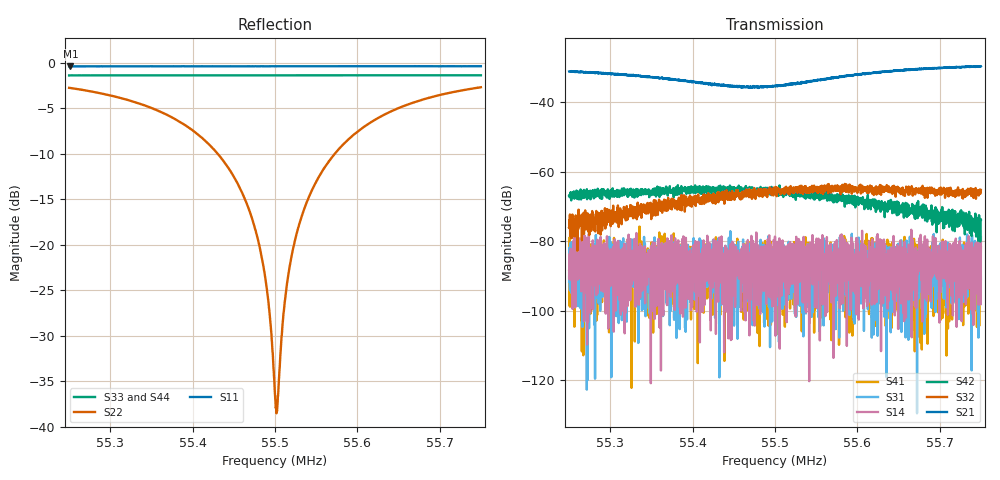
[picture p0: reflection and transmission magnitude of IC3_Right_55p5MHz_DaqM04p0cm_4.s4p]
#  HZ  S  DB  R  50.00
! Rohde & Schwarz Vector Network Analyzer
! Rohde-Schwarz,ZNB8-4Port,1311601044102961,2.82
! Created: UTC 2/13/2019, 1:39:26 PM
! freq[Hz]  db:S11  ang:S11  db:S12  ang:S12  db:S13  ang:S13  db:S14  ang:S14
!  db:S21  ang:S21  db:S22  ang:S22  db:S23  ang:S23  db:S24  ang:S24
!  db:S31  ang:S31  db:S32  ang:S32  db:S33  ang:S33  db:S34  ang:S34
!  db:S41  ang:S41  db:S42  ang:S42  db:S43  ang:S43  db:S44  ang:S44
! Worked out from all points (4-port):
!   2001 points, 55.25 MHz to 55.75 MHz, reference 50 ohm
!   strongest paths, dB at 55.25 MHz, 55.375 MHz, 55.5 MHz, 55.625 MHz, 55.75 MHz:
!     S21: -31.2, -33.5, -35.3, -31.4, -29.8
!     S32: -76.2, -68.7, -65.8, -65.4, -65.3
!     S42: -66.9, -66.0, -65.8, -68.7, -73.8
!     S14: -90.4, -89.8, -78.7, -79.9, -78.8
!     S31: -91.7, -86.0, -94.9, -86.9, -90.9
!     S41: -88.6, -90.6, -84.1, -81.8, -81.8
!   lowest |S11| = -0.4 dB at 55.2515 MHz (marker M1), VSWR 40.16, Z = 2.2 + j43.8 ohm
!   |S11| at or under -10 dB: nowhere
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5.525e7  -0.43 97.5  -31.16 70.7  -90.04 32.6  -90.44 -162.7
         -31.20 70.9  -2.78 -145.9  -75.36 -1.5  -66.51 -160.8
         -91.68 -123.5  -76.18 19.0  -1.41 24.7  -82.10 -37.4
         -88.57 144.7  -66.88 -161.4  -84.85 142.2  -1.43 31.2
5.52515e7  -0.43 97.5  -31.13 70.5  -91.56 33.0  -83.15 -172.0
           -31.20 71.3  -2.80 -146.2  -78.34 -2.2  -65.49 -156.6
           -84.48 111.5  -73.51 -23.7  -1.41 24.7  -97.14 6.3
           -85.92 -53.7  -66.03 -153.0  -92.32 146.1  -1.43 31.2
5.544475e7  -0.41 93.8  -35.32 74.4  -87.25 -106.7  -86.96 -167.1
            -35.54 73.8  -11.79 165.4  -66.44 -39.0  -65.09 157.2
            -90.35 26.6  -66.07 -51.7  -1.41 22.3  -84.27 3.6
            -83.44 -10.3  -66.01 153.6  -98.11 94.0  -1.42 28.8
5.550175e7  -0.41 92.8  -35.13 91.3  -86.28 76.1  -85.15 -62.5
            -35.31 92.1  -38.55 61.9  -65.75 -62.6  -65.40 138.5
            -87.34 48.4  -65.43 -51.5  -1.40 21.5  -90.41 -58.3
            -97.36 -126.2  -65.66 139.7  -86.90 -27.4  -1.42 28.1
5.55215e7  -0.41 92.4  -34.72 97.4  -86.83 28.5  -85.62 79.3
           -34.69 96.6  -20.64 -30.8  -65.19 -63.5  -64.85 132.9
           -89.13 -172.8  -66.17 -68.6  -1.41 21.3  -88.90 -162.0
           -83.94 74.5  -66.03 135.3  -89.49 -125.3  -1.42 27.9
5.556e7  -0.41 91.7  -33.42 100.8  -98.39 57.9  -87.57 56.7
         -33.44 101.3  -11.57 -48.9  -65.21 -79.4  -67.49 127.2
         -84.85 126.1  -64.77 -79.3  -1.41 20.8  -88.96 -35.1
         -83.14 144.6  -66.59 124.4  -81.15 -35.6  -1.42 27.4
5.575e7  -0.40 88.3  -29.80 87.9  -84.94 137.8  -78.82 -15.2
         -29.76 88.0  -2.71 -97.9  -66.95 -114.4  -75.38 90.7
         -90.89 -54.8  -65.29 -116.4  -1.40 18.5  -86.31 92.9
         -81.78 127.9  -73.82 72.0  -88.86 129.8  -1.42 25.0
